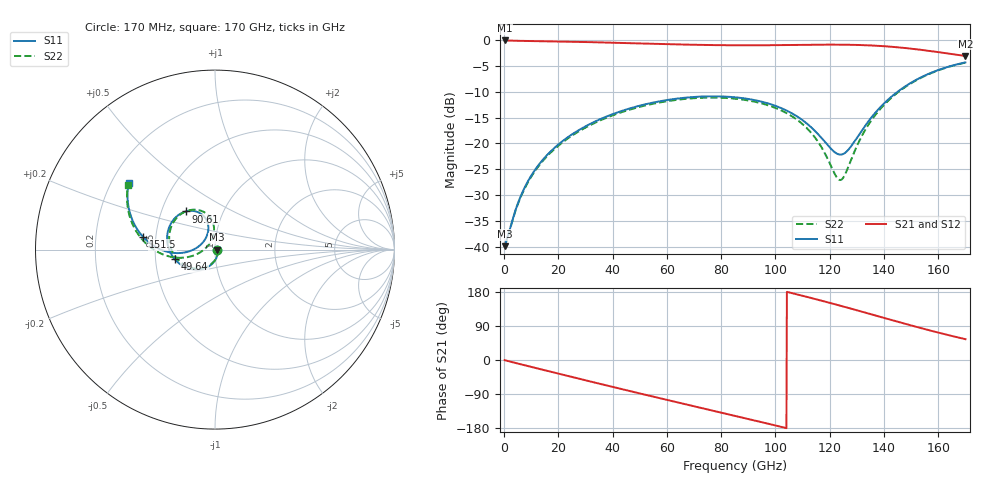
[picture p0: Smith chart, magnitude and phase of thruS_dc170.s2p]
! Touchstone file exported from HFSS 2024.2.0
!  File:  C:/Users/nathan/Desktop/Ansys_HFSS/OnWaferCal-Standards-2p5umM9.aedt
!  Generated:  11:40:14 PM May 21, 2025
!  Design:  1_thru-s
!  Project:  OnWaferCal-Standards-2p5umM9
!  Setup:  sim_dc170
!  Solution:  broad
! Variables:
!  IMD10A_h = 0.06um
!  IMD10B_h = 0.6um
!  IMD10C_h = 0.17um
!  IMD10D_h = 0.712um
!  IMD11A_h = 0.06um
!  IMD11B_h = 0.53um
!  IMD11C_h = 0.2um
!  IMD11D_h = 3.2um
!  IMD1A_h = 0.02um
!  IMD1B_h = 0.045um
!  IMD2t7A_h = 0.025um
!  IMD2t7B_h = 0.065um
!  IMD2t7C_h = 0.09um
!  Passivation1_h = 0.07um
!  Passivation2_h = 0.7um
!  Passivation3_h = 0.4um
!  Passivation4_h = 0.5um
!  landingpad_g_cut = 50um
!  landingpad_m8width_half = 1um
!  landingpad_m9transient_length = (55-1.71) um
!  landingpad_transient_length = 55um
!  landingpad_transition_width_half = 1um
!  landingpad_width_half = 1.25um
!  p1P9M1A1U_x = 0um
!  p1P9M1A1U_y = 0um
!  w1P9M1A1U_x = 255um
!  w1P9M1A1U_y = 745.919um
# GHz S MA R 50.000000
! Terminal data exported
! Port[1] = 1
! Port[2] = 2
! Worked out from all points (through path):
!   1000 points, 170 MHz to 170 GHz, reference 50 ohm
!   highest |S21| = -0.09 dB at 170 MHz (marker M1); lowest = -3.1 dB at 170 GHz (marker M2)
!   group delay of S21, straight-line fit = 4.94 ps
!   lowest |S11| = -39.9 dB at 170 MHz (marker M3), VSWR 1.02, Z = 51 + j0.00203 ohm
!   |S11| at or under -10 dB: start of sweep to 145 GHz
!   |S22| runs from -39.9 to -4.4 dB; largest |S21 - S12| = 1.6e-14
!   S11 on the Smith chart (normalised r, x): 170 MHz: 1.02, +0.00; 49.64 GHz: 0.63, -0.07; 90.61 GHz: 0.67, +0.30; 151.5 GHz: 0.42, +0.07; 170 GHz: 0.27, +0.32
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0.17  0.01014 0.1  0.9899 -0.4  0.9899 -0.4  0.01014 0.1
! Gamma 0 0 0 0
! Port Impedance 50 0 50 0
5.78  0.02943 -61.7  0.9814 -10.7  0.9814 -10.7  0.02886 -61.9
10.88  0.05308 -85.0  0.9769 -19.8  0.9769 -19.8  0.05178 -85.7
18.36  0.08963 -105.6  0.9699 -33.1  0.9699 -33.1  0.08723 -106.9
28.56  0.1394 -127.4  0.9578 -51.1  0.9578 -51.1  0.1356 -129.4
39.1  0.188 -147.6  0.9428 -69.5  0.9428 -69.5  0.183 -150.2
49.64  0.2304 -166.6  0.9267 -87.7  0.9267 -87.7  0.2244 -169.8
56.78  0.2538 -179.0  0.916 -99.8  0.916 -99.8  0.2472 177.4
70.21  0.2815 158.7  0.8989 -122.4  0.8989 -122.4  0.2739 154.2
85.17  0.2791 135.4  0.8889 -147.5  0.8889 -147.5  0.2706 129.7
90.61  0.2673 127.4  0.8884 -156.7  0.8884 -156.7  0.2583 121.1
103.87  0.2092 110.5  0.8935 -179.6  0.8935 -179.6  0.1977 101.6
113.39  0.1413 105.7  0.8996 163.2  0.8996 163.2  0.1246 92.6
117.3  0.1104 110.1  0.9013 155.9  0.9013 155.9  0.08862 94.6
122.4  0.08026 132.0  0.9018 146.2  0.9018 146.2  0.0477 123.1
124.1  0.07793 144.3  0.9013 142.9  0.9013 142.9  0.04432 146.4
127.16  0.0887 165.7  0.8993 136.9  0.8993 136.9  0.06213 -179.1
133.45  0.1532 -175.4  0.8898 124.3  0.8898 124.3  0.1401 -164.3
141.78  0.2691 -177.6  0.8642 107.5  0.8642 107.5  0.2622 -171.9
151.47  0.4066 170.0  0.8161 88.3  0.8161 88.3  0.4021 173.0
160.65  0.5194 156.2  0.7592 71.1  0.7592 71.1  0.5159 157.9
170  0.6074 142.5  0.7006 55.0  0.7006 55.0  0.6042 143.3
